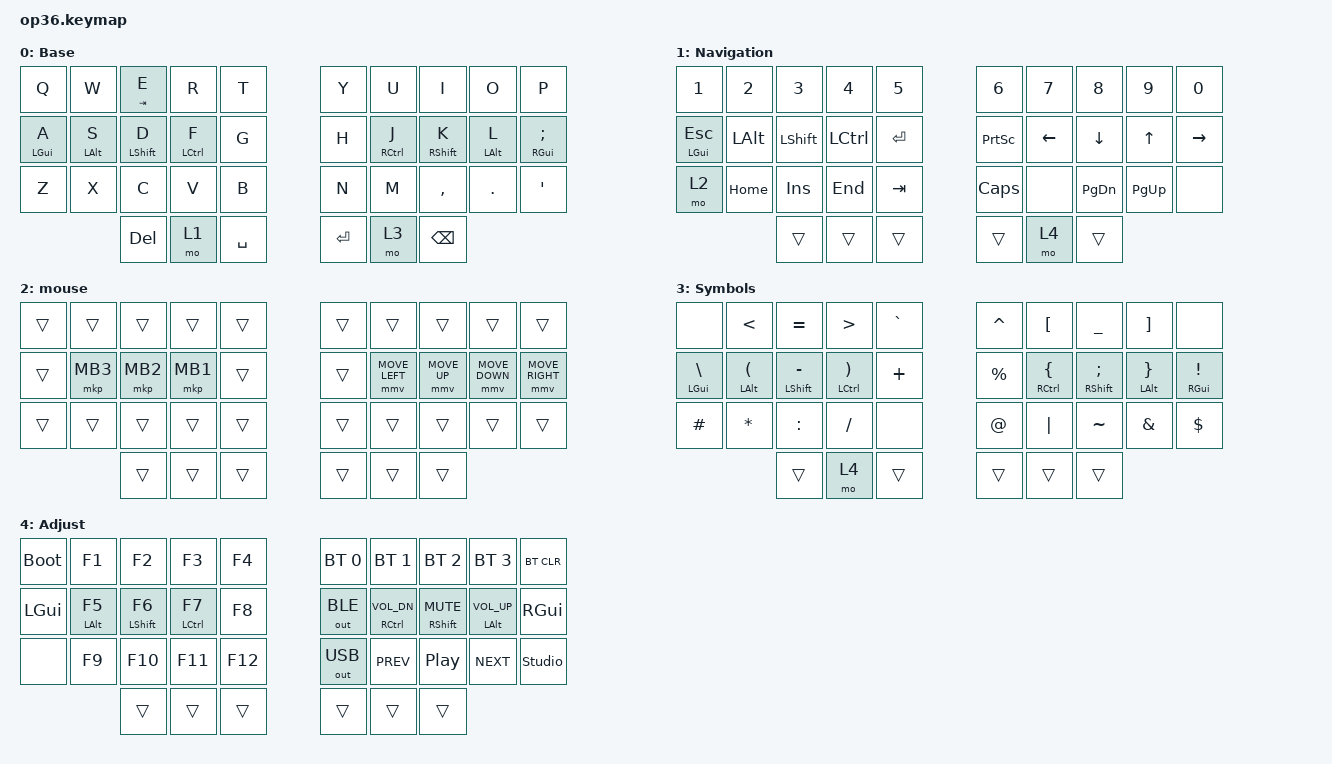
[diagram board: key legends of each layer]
#include "keys_ru.h"
#include <behaviors.dtsi>
#include <dt-bindings/zmk/bt.h>
#include <dt-bindings/zmk/keys.h>
#include <dt-bindings/zmk/outputs.h>
#include <dt-bindings/zmk/pointing.h>

&mt {
    quick-tap-ms = <200>;
    flavor = "tap-preferred";
    require-prior-idle-ms = <125>;
};

/ {
    behaviors {
        hml: home_row_mod_left {
            compatible = "zmk,behavior-hold-tap";
            #binding-cells = <2>;
            flavor = "balanced";
            require-prior-idle-ms = <150>;
            tapping-term-ms = <280>;
            quick-tap-ms = <175>;
            bindings = <&kp>, <&kp>;

            hold-trigger-key-positions = <5 6 7 8 9 15 16 17 18 19 25 26 27 28 29 33 34 35>;
            hold-trigger-on-release;
        };

        hmr: home_row_mod_right {
            compatible = "zmk,behavior-hold-tap";
            #binding-cells = <2>;
            flavor = "balanced";
            require-prior-idle-ms = <150>;
            tapping-term-ms = <280>;
            quick-tap-ms = <175>;
            bindings = <&kp>, <&kp>;

            hold-trigger-key-positions = <0 1 2 3 4 10 11 12 13 14 20 21 22 23 24 30 31 32>;
            hold-trigger-on-release;
        };
    };

    combos {
        compatible = "zmk,combos";

        kha {
            bindings = <&kp LBKT>;
            key-positions = <6 7>;
        };

        hrdsgn {
            bindings = <&kp RBKT>;
            key-positions = <7 8>;
        };
    };

    keymap {
        compatible = "zmk,keymap";

        base {
            bindings = <
  &kp Q        &kp W        &hmr TAB E    &kp R         &kp T                          &kp Y  &kp U          &kp I         &kp O        &kp P
  &hml LGUI A  &hml LALT S  &hml LSHFT D  &hml LCTRL F  &kp G                          &kp H  &hmr RCTRL J   &hmr RSHFT K  &hmr LALT L  &hmr RGUI SEMICOLON
  &kp Z        &kp X        &kp C         &kp V         &kp B                          &kp N  &kp M          &kp COMMA     &kp DOT      &kp SQT
                                          &kp DELETE    &mo 1  &kp SPACE    &kp ENTER  &mo 3  &kp BACKSPACE
            >;

            display-name = "Base";
        };

        nav {
            bindings = <
  &kp N1         &kp N2    &kp N3     &kp N4     &kp N5                       &kp N6           &kp N7          &kp N8     &kp N9     &kp N0
  &hml LGUI ESC  &kp LALT  &kp LSHFT  &kp LCTRL  &kp ENTER                    &kp PRINTSCREEN  &kp LEFT_ARROW  &kp DOWN   &kp UP     &kp RIGHT_ARROW
  &mo 2          &kp HOME  &kp INS    &kp END    &kp TAB                      &kp CAPS         &none           &kp PG_DN  &kp PG_UP  &none
                                      &trans     &trans     &trans    &trans  &mo 4            &trans
            >;

            display-name = "Navigation";
        };

        mouse {
            bindings = <
  &trans  &trans    &trans    &trans    &trans                    &trans  &trans          &trans        &trans          &trans
  &trans  &mkp MB3  &mkp MB2  &mkp MB1  &trans                    &trans  &mmv MOVE_LEFT  &mmv MOVE_UP  &mmv MOVE_DOWN  &mmv MOVE_RIGHT
  &trans  &trans    &trans    &trans    &trans                    &trans  &trans          &trans        &trans          &trans
                              &trans    &trans  &trans    &trans  &trans  &trans
            >;
        };

        sym {
            bindings = <
  &none           &kp LT          &kp EQUAL         &kp GT           &kp GRAVE                    &kp CARET  &kp LBKT         &kp UNDER        &kp RBKT        &none
  &hml LGUI BSLH  &hml LALT LPAR  &hml LSHFT MINUS  &hml LCTRL RPAR  &kp PLUS                     &kp PRCNT  &hmr RCTRL LBRC  &hmr RSHFT SEMI  &hmr LALT RBRC  &hmr RGUI EXCL
  &kp HASH        &kp STAR        &kp COLON         &kp FSLH         &none                        &kp AT     &kp PIPE         &kp TILDE        &kp AMPS        &kp DLLR
                                                    &trans           &mo 4      &trans    &trans  &trans     &trans
            >;

            display-name = "Symbols";
        };

        adj {
            bindings = <
  &bootloader  &kp F1        &kp F2         &kp F3         &kp F4                     &bt BT_SEL 0  &bt BT_SEL 1         &bt BT_SEL 2       &bt BT_SEL 3        &bt BT_CLR
  &kp LGUI     &hml LALT F5  &hml LSHFT F6  &hml LCTRL F7  &kp F8                     &out OUT_BLE  &hmr RCTRL C_VOL_DN  &hmr RSHFT C_MUTE  &hmr LALT C_VOL_UP  &kp RGUI
  &none        &kp F9        &kp F10        &kp F11        &kp F12                    &out OUT_USB  &kp C_PREV           &kp C_PP           &kp C_NEXT          &studio_unlock
                                            &trans         &trans   &trans    &trans  &trans        &trans
            >;

            display-name = "Adjust";
        };
    };
};
